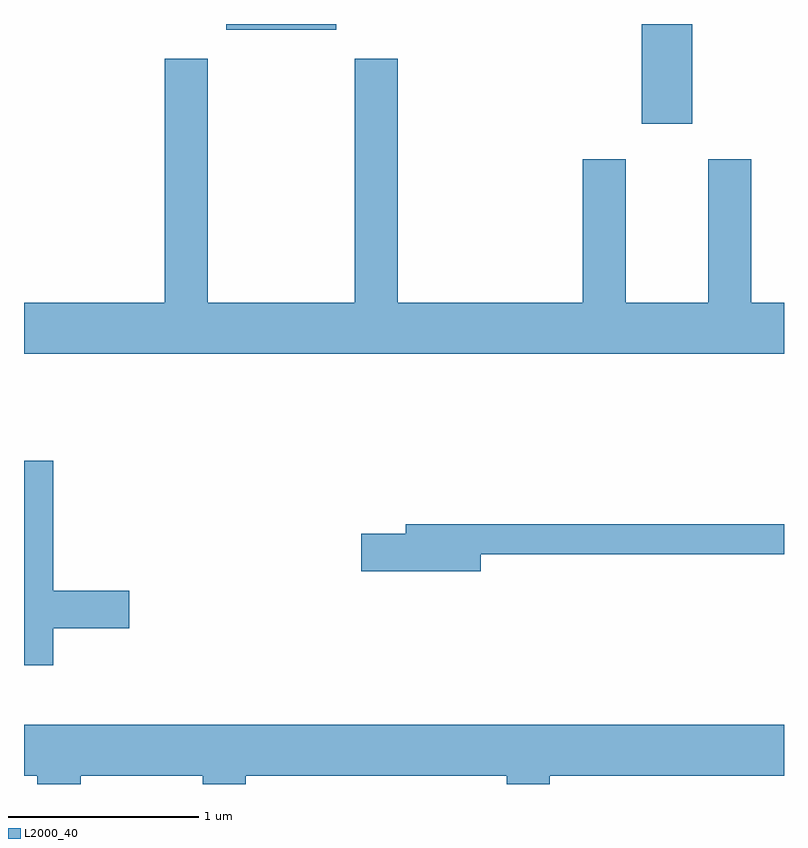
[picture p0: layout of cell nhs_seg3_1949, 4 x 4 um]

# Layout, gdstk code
import gdstk
lib = gdstk.Library(unit=1e-6, precision=1e-09)
def R(c, l, rs):  # rectangles x0, y0, x1, y1
    for r in rs: c.add(gdstk.rectangle(r[:2], r[2:], *l))
def P(c, l, *ps):  # polygons
    for p in ps: c.add(gdstk.Polygon(p, *l))
L2000_40 = (2000, 40)

nhs_seg3_1949 = lib.new_cell('nhs_seg3_1949')
R(nhs_seg3_1949, L2000_40, [(244.861,1209.366,245.129,1209.892), (242.676,1209.861,243.254,1209.892)])
P(nhs_seg3_1949, L2000_40, [(245.611,1208.424),(245.439,1208.424),(245.439,1209.179),(245.211,1209.179),(245.211,1208.424),(244.779,1208.424),(244.779,1209.179),(244.551,1209.179),(244.551,1208.424),(243.579,1208.424),(243.579,1209.709),(243.351,1209.709),(243.351,1208.424),(242.579,1208.424),(242.579,1209.709),(242.351,1209.709),(242.351,1208.424),(241.611,1208.424),(241.611,1208.156),(245.611,1208.156)],
  [(241.764,1206.711),(242.164,1206.711),(242.164,1206.909),(241.764,1206.909),(241.764,1207.594),(241.611,1207.594),(241.611,1206.516),(241.764,1206.516)],
  [(244.014,1207.101),(245.611,1207.101),(245.611,1207.259),(243.621,1207.259),(243.621,1207.209),(243.386,1207.209),(243.386,1207.011),(244.014,1207.011)],
  [(241.909,1205.936),(242.551,1205.936),(242.551,1205.892),(242.779,1205.892),(242.779,1205.936),(244.151,1205.936),(244.151,1205.892),(244.379,1205.892),(244.379,1205.936),(245.611,1205.936),(245.611,1206.204),(241.611,1206.204),(241.611,1205.936),(241.681,1205.936),(241.681,1205.892),(241.909,1205.892)])

lib.write_gds('nhs_seg3_1949.gds')
